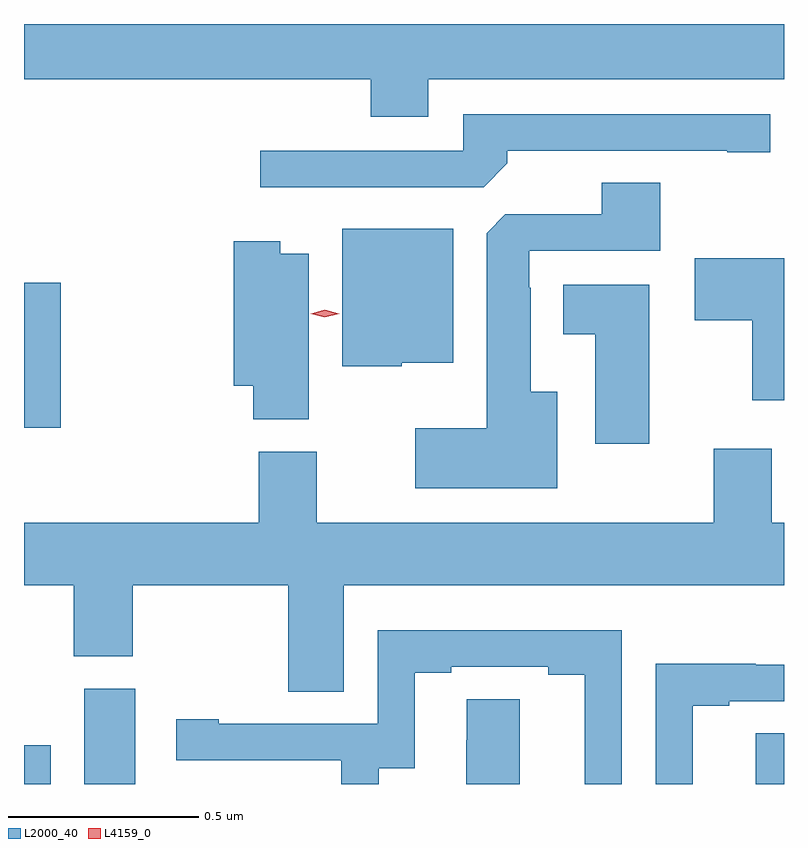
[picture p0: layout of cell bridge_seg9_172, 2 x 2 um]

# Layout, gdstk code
import gdstk
lib = gdstk.Library(unit=1e-6, precision=1e-09)
def R(c, l, rs):  # rectangles x0, y0, x1, y1
    for r in rs: c.add(gdstk.rectangle(r[:2], r[2:], *l))
def P(c, l, *ps):  # polygons
    for p in ps: c.add(gdstk.Polygon(p, *l))
L2000_40 = (2000, 40)
L4159_0 = (4159, 0)

bridge_seg9_172 = lib.new_cell('bridge_seg9_172')
R(bridge_seg9_172, L2000_40, [(186.281,1235.857,186.352,1235.959), (186.44,1235.857,186.574,1236.108), (188.207,1235.857,188.281,1235.99), (186.281,1236.795,186.378,1237.176)])
P(bridge_seg9_172, L2000_40, [(187.345,1237.712),(188.281,1237.712),(188.281,1237.857),(186.281,1237.857),(186.281,1237.712),(187.193,1237.712),(187.193,1237.613),(187.345,1237.613)],
  [(187.553,1237.49),(187.553,1237.524),(188.132,1237.524),(188.132,1237.519),(188.245,1237.519),(188.245,1237.62),(187.437,1237.62),(187.437,1237.524),(186.903,1237.524),(186.903,1237.428),(187.491,1237.428)],
  [(187.684,1236.889),(187.615,1236.889),(187.615,1237.163),(187.611,1237.163),(187.611,1237.26),(187.955,1237.26),(187.955,1237.439),(187.802,1237.439),(187.802,1237.356),(187.548,1237.356),(187.499,1237.307),(187.499,1236.793),(187.311,1236.793),(187.311,1236.635),(187.684,1236.635)],
  [(187.275,1236.965),(187.411,1236.965),(187.411,1237.318),(187.118,1237.318),(187.118,1236.956),(187.275,1236.956)],
  [(187.03,1237.252),(186.955,1237.252),(186.955,1237.285),(186.833,1237.285),(186.833,1236.905),(186.884,1236.905),(186.884,1236.817),(187.03,1236.817)],
  [(188.281,1237.24),(188.046,1237.24),(188.046,1237.078),(188.198,1237.078),(188.198,1236.867),(188.281,1236.867)],
  [(187.927,1237.171),(187.7,1237.171),(187.7,1237.04),(187.784,1237.04),(187.784,1236.753),(187.927,1236.753)],
  [(187.123,1236.38),(188.281,1236.38),(188.281,1236.544),(188.249,1236.544),(188.249,1236.739),(188.096,1236.739),(188.096,1236.544),(187.051,1236.544),(187.051,1236.732),(186.899,1236.732),(186.899,1236.544),(186.281,1236.544),(186.281,1236.38),(186.412,1236.38),(186.412,1236.193),(186.567,1236.193),(186.567,1236.38),(186.976,1236.38),(186.976,1236.1),(187.123,1236.1)],
  [(187.215,1235.899),(187.309,1235.899),(187.309,1236.15),(187.405,1236.15),(187.405,1236.165),(187.661,1236.165),(187.661,1236.145),(187.757,1236.145),(187.757,1235.857),(187.854,1235.857),(187.854,1236.261),(187.212,1236.261),(187.212,1236.015),(186.793,1236.015),(186.793,1236.028),(186.681,1236.028),(186.681,1235.919),(187.115,1235.919),(187.115,1235.918),(187.116,1235.918),(187.116,1235.857),(187.215,1235.857)],
  [(188.041,1236.063),(188.137,1236.063),(188.137,1236.075),(188.281,1236.075),(188.281,1236.171),(188.207,1236.171),(188.207,1236.173),(187.944,1236.173),(187.944,1235.857),(188.041,1235.857)],
  [(187.585,1236.08),(187.446,1236.08),(187.446,1235.972),(187.445,1235.972),(187.445,1235.857),(187.585,1235.857)])
P(bridge_seg9_172, L4159_0, [(187.073,1237.085),(187.036,1237.095),(187.036,1237.095),(187.036,1237.095),(187.073,1237.105),(187.111,1237.095),(187.111,1237.095),(187.111,1237.095)])

lib.write_gds('bridge_seg9_172.gds')
